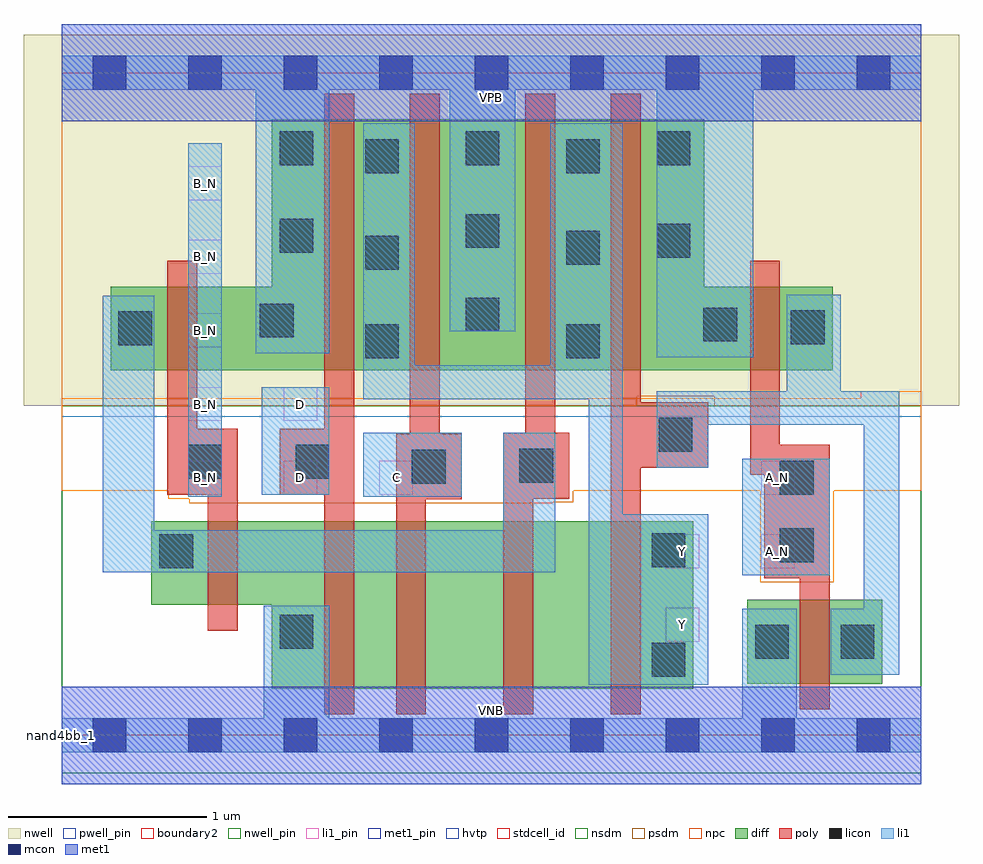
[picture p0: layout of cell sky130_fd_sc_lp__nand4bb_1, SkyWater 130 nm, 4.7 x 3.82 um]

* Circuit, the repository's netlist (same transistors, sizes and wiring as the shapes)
* Copyright 2020 The SkyWater PDK Authors
*
* Licensed under the Apache License, Version 2.0 (the "License");
* you may not use this file except in compliance with the License.
* You may obtain a copy of the License at
*
*     https://www.apache.org/licenses/LICENSE-2.0
*
* Unless required by applicable law or agreed to in writing, software
* distributed under the License is distributed on an "AS IS" BASIS,
* WITHOUT WARRANTIES OR CONDITIONS OF ANY KIND, either express or implied.
* See the License for the specific language governing permissions and
* limitations under the License.
*
* SPDX-License-Identifier: Apache-2.0

.SUBCKT sky130_fd_sc_lp__nand4bb_1 A_N B_N C D VGND VNB VPB VPWR Y
*.PININFO A_N:I B_N:I C:I D:I VGND:I VNB:I VPB:I VPWR:I Y:O
MMP0 Y A VPWR VPB sky130_fd_pr__pfet_01v8_hvt m=1 w=1.26U l=0.15U mult=1 sa=0.265
+ sb=0.265 sd=0.28 area=0.063 perim=1.14
MMP1 Y B VPWR VPB sky130_fd_pr__pfet_01v8_hvt m=1 w=1.26U l=0.15U mult=1 sa=0.265
+ sb=0.265 sd=0.28 area=0.063 perim=1.14
MMP2 Y C VPWR VPB sky130_fd_pr__pfet_01v8_hvt m=1 w=1.26U l=0.15U mult=1 sa=0.265
+ sb=0.265 sd=0.28 area=0.063 perim=1.14
MMP3 Y D VPWR VPB sky130_fd_pr__pfet_01v8_hvt m=1 w=1.26U l=0.15U mult=1 sa=0.265
+ sb=0.265 sd=0.28 area=0.063 perim=1.14
MMIP0 A A_N VPWR VPB sky130_fd_pr__pfet_01v8_hvt m=1 w=0.42U l=0.15U mult=1 sa=0.265
+ sb=0.265 sd=0.28 area=0.063 perim=1.14
MMIP1 B B_N VPWR VPB sky130_fd_pr__pfet_01v8_hvt m=1 w=0.42U l=0.15U mult=1 sa=0.265
+ sb=0.265 sd=0.28 area=0.063 perim=1.14
MMN0 Y A sndA VNB sky130_fd_pr__nfet_01v8 m=1 w=0.84U l=0.15U mult=1 sa=0.265 sb=0.265
+ sd=0.28 area=0.063 perim=1.14
MMN1 sndA B sndB VNB sky130_fd_pr__nfet_01v8 m=1 w=0.84U l=0.15U mult=1 sa=0.265
+ sb=0.265 sd=0.28 area=0.063 perim=1.14
MMN2 sndB C sndC VNB sky130_fd_pr__nfet_01v8 m=1 w=0.84U l=0.15U mult=1 sa=0.265
+ sb=0.265 sd=0.28 area=0.063 perim=1.14
MMN3 sndC D VGND VNB sky130_fd_pr__nfet_01v8 m=1 w=0.84U l=0.15U mult=1 sa=0.265
+ sb=0.265 sd=0.28 area=0.063 perim=1.14
MMIN0 A A_N VGND VNB sky130_fd_pr__nfet_01v8 m=1 w=0.42U l=0.15U mult=1 sa=0.265
+ sb=0.265 sd=0.28 area=0.063 perim=1.14
MMIN1 B B_N VGND VNB sky130_fd_pr__nfet_01v8 m=1 w=0.42U l=0.15U mult=1 sa=0.265
+ sb=0.265 sd=0.28 area=0.063 perim=1.14
.ENDS sky130_fd_sc_lp__nand4bb_1

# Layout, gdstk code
import gdstk
lib = gdstk.Library(unit=1e-6, precision=1e-09)
def R(c, l, rs):  # rectangles x0, y0, x1, y1
    for r in rs: c.add(gdstk.rectangle(r[:2], r[2:], *l))
def A(c, l, x, y, w, h, nx, ny, dx, dy):  # array of equal rectangles
    R(c, l, [(x+i*dx, y+j*dy, x+i*dx+w, y+j*dy+h) for i in range(nx) for j in range(ny)])
def P(c, l, *ps):  # polygons
    for p in ps: c.add(gdstk.Polygon(p, *l))
nwell_pin = (64, 16)
nwell = (64, 20)
diff = (65, 20)
poly = (66, 20)
licon = (66, 44)
li1_pin = (67, 16)
li1 = (67, 20)
mcon = (67, 44)
met1_pin = (68, 16)
met1 = (68, 20)
hvtp = (78, 44)
stdcell_id = (81, 4)
nsdm = (93, 44)
psdm = (94, 20)
npc = (95, 20)
pwell_pin = (122, 16)
boundary2 = (236, 0)

sky130_fd_sc_lp__nand4bb = lib.new_cell('sky130_fd_sc_lp__nand4bb_1')
R(sky130_fd_sc_lp__nand4bb, nwell_pin, [(0,3.085,4.32,3.33)])
R(sky130_fd_sc_lp__nand4bb, nwell, [(-0.19,1.655,4.51,3.52)])
R(sky130_fd_sc_lp__nand4bb, diff, [(3.445,0.26,4.125,0.68)])
P(sky130_fd_sc_lp__nand4bb, diff, [(3.175,1.075),(0.45,1.075),(0.45,0.655),(1.055,0.655),(1.055,0.235),(3.175,0.235)],
  [(3.875,2.255),(3.23,2.255),(3.23,3.095),(1.055,3.095),(1.055,2.255),(0.245,2.255),(0.245,1.835),(3.875,1.835)])
P(sky130_fd_sc_lp__nand4bb, poly, [(0.885,1.54),(0.68,1.54),(0.68,2.385),(0.53,2.385),(0.53,1.21),(0.735,1.21),(0.735,0.525),(0.885,0.525)],
  [(1.47,3.225),(1.32,3.225),(1.32,1.54),(1.095,1.54),(1.095,1.21),(1.32,1.21),(1.32,0.105),(1.47,0.105)],
  [(2.01,1.515),(1.9,1.515),(1.9,3.225),(1.75,3.225),(1.75,1.515),(1.68,1.515),(1.68,0.105),(1.83,0.105),(1.83,1.185),(2.01,1.185)],
  [(2.55,1.52),(2.48,1.52),(2.48,3.225),(2.33,3.225),(2.33,1.52),(2.22,1.52),(2.22,0.105),(2.37,0.105),(2.37,1.19),(2.55,1.19)],
  [(3.25,1.675),(2.91,1.675),(2.91,3.225),(2.76,3.225),(2.76,0.105),(2.91,0.105),(2.91,1.345),(3.25,1.345)],
  [(3.86,1.46),(3.61,1.46),(3.61,2.385),(3.46,2.385),(3.46,1.31),(3.53,1.31),(3.53,0.79),(3.71,0.79),(3.71,0.13),(3.86,0.13)])
R(sky130_fd_sc_lp__nand4bb, licon, [(2.965,0.295,3.135,0.465), (3.485,0.385,3.655,0.555), (3.915,0.385,4.085,0.555), (1.095,0.435,1.265,0.605), (0.49,0.84,0.66,1.01), (2.965,0.845,3.135,1.015), (3.61,0.87,3.78,1.04), (3.61,1.21,3.78,1.38), (1.76,1.265,1.93,1.435), (2.3,1.27,2.47,1.44), (0.635,1.29,0.805,1.46), (1.175,1.29,1.345,1.46), (3,1.425,3.17,1.595), (1.525,1.895,1.695,2.065), (2.535,1.895,2.705,2.065), (0.285,1.96,0.455,2.13), (3.665,1.965,3.835,2.135), (3.225,1.98,3.395,2.15), (0.995,2,1.165,2.17), (2.03,2.03,2.2,2.2), (1.525,2.34,1.695,2.51), (2.535,2.365,2.705,2.535), (2.99,2.4,3.16,2.57), (1.095,2.425,1.265,2.595), (2.03,2.45,2.2,2.62), (1.525,2.825,1.695,2.995), (2.535,2.825,2.705,2.995), (1.095,2.865,1.265,3.035), (2.03,2.865,2.2,3.035), (2.99,2.865,3.16,3.035)])
A(sky130_fd_sc_lp__nand4bb, li1_pin, 0.635, 1.21, 0.17, 0.17, 3, 1, 0.48, 0)
A(sky130_fd_sc_lp__nand4bb, li1_pin, 0.635, 1.58, 0.17, 0.17, 1, 4, 0, 0.37)
R(sky130_fd_sc_lp__nand4bb, li1_pin, [(3.035,0.47,3.205,0.64), (3.035,0.84,3.205,1.01), (3.515,0.84,3.685,1.01), (3.515,1.21,3.685,1.38), (1.115,1.58,1.285,1.75)])
R(sky130_fd_sc_lp__nand4bb, li1, [(3.42,0.805,3.86,1.39), (0.635,1.2,0.805,2.975), (1.515,1.2,2.01,1.52), (1.005,1.21,1.345,1.75)])
P(sky130_fd_sc_lp__nand4bb, li1, [(0.975,1.92),(0.975,3.245),(0,3.245),(0,3.415),(4.32,3.415),(4.32,3.245),(3.475,3.245),(3.475,1.9),(2.99,1.9),(2.99,3.245),(2.28,3.245),(2.28,2.03),(1.95,2.03),(1.95,3.245),(1.345,3.245),(1.345,1.92)],
  [(1.015,0.085),(1.015,0.65),(1.345,0.65),(1.345,0.085),(3.42,0.085),(3.42,0.635),(3.695,0.635),(3.695,0.085),(4.32,0.085),(4.32,-0.085),(0,-0.085),(0,0.085)],
  [(2.22,1.03),(2.22,1.52),(2.48,1.52),(2.48,0.82),(0.205,0.82),(0.205,2.21),(0.465,2.21),(0.465,1.03)],
  [(2.65,0.255),(2.65,1.69),(1.515,1.69),(1.515,3.075),(1.775,3.075),(1.775,1.86),(2.455,1.86),(2.455,3.075),(2.82,3.075),(2.82,1.11),(3.25,1.11),(3.25,0.255)],
  [(4.21,1.73),(4.21,0.305),(3.865,0.305),(3.865,0.635),(4.03,0.635),(4.03,1.56),(3.25,1.56),(3.25,1.345),(2.99,1.345),(2.99,1.73),(3.645,1.73),(3.645,2.215),(3.915,2.215),(3.915,1.73)])
A(sky130_fd_sc_lp__nand4bb, mcon, 0.155, -0.085, 0.17, 0.17, 9, 2, 0.48, 3.33)
R(sky130_fd_sc_lp__nand4bb, met1_pin, [(0,0,4.32,0.245), (0,3.085,4.32,3.33)])
R(sky130_fd_sc_lp__nand4bb, met1, [(0,-0.245,4.32,0.245), (0,3.085,4.32,3.575)])
R(sky130_fd_sc_lp__nand4bb, hvtp, [(0,1.6,4.32,3.33)])
R(sky130_fd_sc_lp__nand4bb, stdcell_id, [(0,0,4.32,3.33)])
R(sky130_fd_sc_lp__nand4bb, nsdm, [(0,-0.19,4.32,1.655)])
P(sky130_fd_sc_lp__nand4bb, psdm, [(4.32,3.52),(0,3.52),(0,1.655),(2.89,1.655),(2.89,1.705),(3.28,1.705),(3.28,1.655),(4.32,1.655)])
P(sky130_fd_sc_lp__nand4bb, npc, [(4.32,1.73),(4.015,1.73),(4.015,1.695),(0,1.695),(0,1.23),(0.535,1.23),(0.535,1.19),(0.64,1.19),(0.64,1.165),(2.465,1.165),(2.465,1.17),(2.57,1.17),(2.57,1.23),(3.51,1.23),(3.51,0.77),(3.88,0.77),(3.88,1.23),(4.32,1.23)])
R(sky130_fd_sc_lp__nand4bb, pwell_pin, [(0,0,4.32,0.245)])
R(sky130_fd_sc_lp__nand4bb, boundary2, [(0,0,4.32,3.33)])
sky130_fd_sc_lp__nand4bb.add(gdstk.Label('VNB', (2.16,0.123), layer=64, texttype=59))
sky130_fd_sc_lp__nand4bb.add(gdstk.Label('VPB', (2.16,3.208), layer=64, texttype=5))
sky130_fd_sc_lp__nand4bb.add(gdstk.Label('nand4bb_1', (0,0), layer=83, texttype=44))
sky130_fd_sc_lp__nand4bb.add(gdstk.Label('VPWR', (2.16,3.208), layer=68, texttype=5))
sky130_fd_sc_lp__nand4bb.add(gdstk.Label('VGND', (2.16,0.123), layer=68, texttype=5))
sky130_fd_sc_lp__nand4bb.add(gdstk.Label('C', (1.68,1.295), layer=67, texttype=5))
sky130_fd_sc_lp__nand4bb.add(gdstk.Label('D', (1.2,1.295), layer=67, texttype=5))
sky130_fd_sc_lp__nand4bb.add(gdstk.Label('D', (1.2,1.665), layer=67, texttype=5))
sky130_fd_sc_lp__nand4bb.add(gdstk.Label('A_N', (3.6,0.925), layer=67, texttype=5))
sky130_fd_sc_lp__nand4bb.add(gdstk.Label('A_N', (3.6,1.295), layer=67, texttype=5))
sky130_fd_sc_lp__nand4bb.add(gdstk.Label('B_N', (0.72,1.295), layer=67, texttype=5))
sky130_fd_sc_lp__nand4bb.add(gdstk.Label('B_N', (0.72,1.665), layer=67, texttype=5))
sky130_fd_sc_lp__nand4bb.add(gdstk.Label('B_N', (0.72,2.035), layer=67, texttype=5))
sky130_fd_sc_lp__nand4bb.add(gdstk.Label('B_N', (0.72,2.405), layer=67, texttype=5))
sky130_fd_sc_lp__nand4bb.add(gdstk.Label('B_N', (0.72,2.775), layer=67, texttype=5))
sky130_fd_sc_lp__nand4bb.add(gdstk.Label('Y', (3.12,0.555), layer=67, texttype=5))
sky130_fd_sc_lp__nand4bb.add(gdstk.Label('Y', (3.12,0.925), layer=67, texttype=5))

lib.write_gds('sky130_fd_sc_lp__nand4bb_1.gds')
